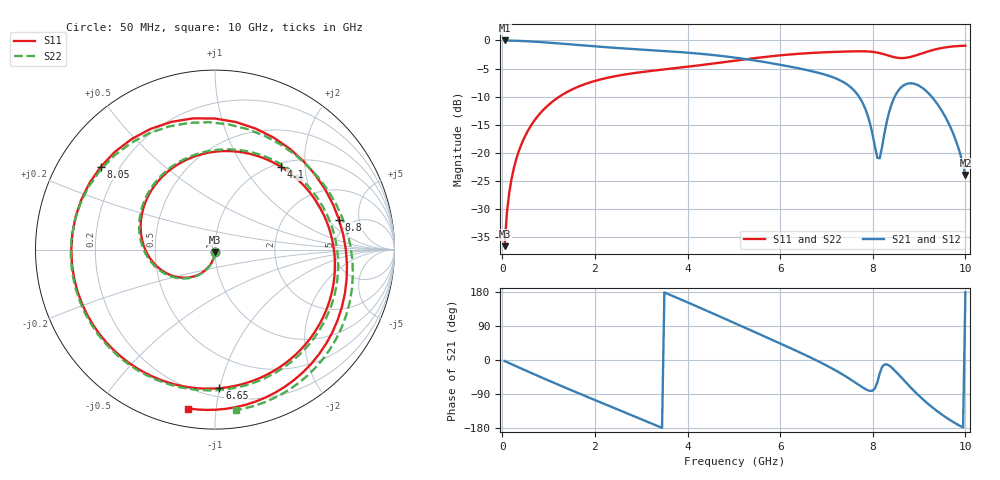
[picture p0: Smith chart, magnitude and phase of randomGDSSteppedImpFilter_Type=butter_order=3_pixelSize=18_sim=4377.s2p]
! freq	dB(S11)	phase(S11)	dB(S12)	phase(S12)
!  dB(S21)	phase(S21)	dB(S22)	phase(S22)
!S-par simulation data
#  GHz  S  DB  R 50
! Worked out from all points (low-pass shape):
!   200 points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, 50 MHz to 10 GHz, reference 50 ohm
!   highest |S21| = 0.00 dB at 50 MHz (marker M1); lowest = -24.0 dB at 10 GHz (marker M2)
!   |S21| within 3 dB of the highest: start of sweep to 4.974 GHz
!   lowest |S11| = -36.6 dB at 50 MHz (marker M3), VSWR 1.03, Z = 49.9 - j1.47 ohm
!   |S11| at or under -10 dB: start of sweep to 1.234 GHz
!   |S22| runs from -36.6 to -0.9 dB; largest |S21 - S12| = 0
!   S11 on the Smith chart (normalised r, x): 50 MHz: 1.00, -0.03; 4.1 GHz: 1.06, +1.50; 6.65 GHz: 0.26, -1.00; 8.05 GHz: 0.13, +0.32; 8.8 GHz: 4.01, +2.71; 10 GHz: 0.09, -0.84
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0.05  -36.63 -92.6  -0.00 -2.8  -0.00 -2.8  -36.63 -92.6
0.2  -24.64 -101.4  -0.03 -11.1  -0.03 -11.1  -24.64 -101.0
0.5  -16.91 -118.3  -0.13 -27.4  -0.13 -27.4  -16.91 -117.5
1.15  -10.48 -153.7  -0.49 -62.1  -0.49 -62.1  -10.48 -151.8
1.75  -7.88 174.7  -0.89 -93.0  -0.89 -93.0  -7.88 177.9
2.65  -6.06 128.2  -1.44 -138.3  -1.44 -138.3  -6.06 133.7
3.4  -5.25 89.0  -1.83 -176.5  -1.83 -176.5  -5.25 96.7
4.1  -4.59 51.5  -2.25 146.9  -2.25 146.9  -4.58 61.1
5.05  -3.58 -0.0  -3.09 95.7  -3.09 95.7  -3.57 11.1
5.85  -2.78 -43.4  -4.11 51.9  -4.11 51.9  -2.76 -31.9
6.65  -2.24 -88.2  -5.41 6.9  -5.41 6.9  -2.22 -76.6
6.7  -2.22 -91.2  -5.51 4.0  -5.51 4.0  -2.19 -79.5
7.45  -1.97 -143.8  -7.86 -45.8  -7.86 -45.8  -1.93 -130.8
7.8  -1.93 179.8  -11.45 -73.8  -11.45 -73.8  -1.87 -165.2
8.05  -2.09 144.0  -19.06 -74.1  -19.06 -74.1  -2.02 161.2
8.15  -2.25 127.0  -20.97 -35.4  -20.97 -35.4  -2.19 145.3
8.35  -2.73 90.1  -12.86 -14.4  -12.86 -14.4  -2.70 110.5
8.55  -3.11 53.4  -8.95 -37.3  -8.95 -37.3  -3.16 75.1
8.8  -2.96 13.6  -7.63 -70.1  -7.63 -70.1  -3.07 35.0
9.25  -1.82 -40.2  -9.81 -121.4  -9.81 -121.4  -1.87 -21.4
9.6  -1.20 -71.3  -14.14 -153.1  -14.14 -153.1  -1.20 -53.8
10  -0.94 -99.5  -23.96 178.9  -23.96 178.9  -0.90 -82.5
